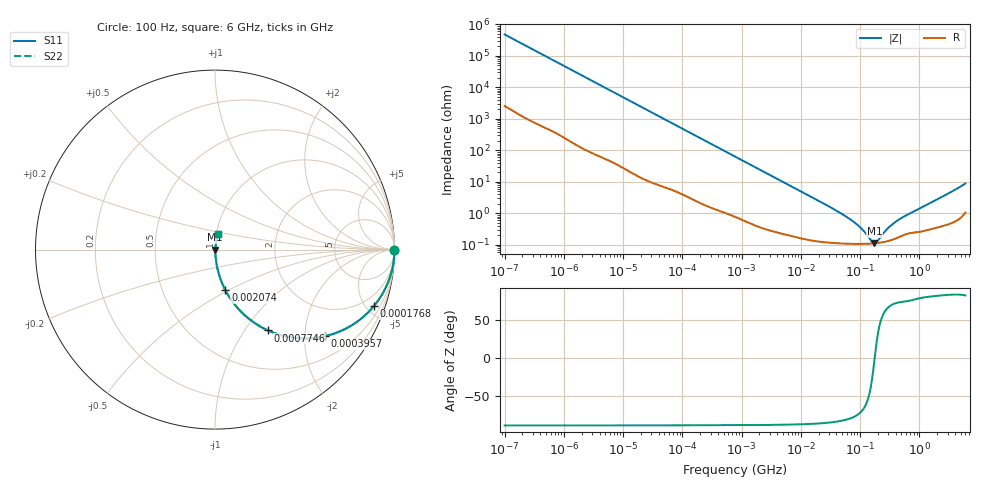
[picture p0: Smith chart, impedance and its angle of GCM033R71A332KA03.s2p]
!Murata Part Number: GCM033R71A332KA03
!These Parameters are Measured in Series Mode Connection
!  o--ll--o
!Port1  Port2
!  o------o
!Operation Temp=25[degC], DC Bias Voltage=0[V]
!Freq. Start=100[Hz] Stop=6[GHz], 401[Steps]
!Data Generated on Nov 6, 2018
# Hz S RI R 50
!Freq.(Hz) S11(Real) S11(Imag) S21(Real) S21(Imag) S12(Real) S12(Imag) S22(Real) S22(Imag)
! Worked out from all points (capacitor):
!   401 points, 100 Hz to 6 GHz, reference 50 ohm
!   read as one part in series: C = 3.3 nF near 109.4 Hz
!   lowest |Z| = 113 mohm at 174.6 MHz (marker M1)
!   series resonance near 176.5 MHz, so ESL is about 250 pH
!   S11 on the Smith chart (normalised r, x): 100 Hz: open; 176.8 kHz: 1.05, -5.60; 395.7 kHz: 1.03, -2.51; 774.6 kHz: 1.02, -1.29; 2.074 MHz: 1.01, -0.48; 6 GHz: 1.02, +0.18
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100  1 -0.000208  1.15e-06 0.000208  1.15e-06 0.000208  1 -0.000208
2008.354  1 -0.00413  3.74e-05 0.00413  3.74e-05 0.00413  1 -0.00413
12592.18  0.9992 -0.0257  0.000806 0.0257  0.000806 0.0257  0.9992 -0.0257
40334.87  0.9928 -0.0815  0.00722 0.0815  0.00722 0.0815  0.9928 -0.0815
98761.63  0.96 -0.1919  0.04 0.1919  0.04 0.1919  0.96 -0.1919
176757.6  0.8847 -0.3152  0.1153 0.3152  0.1153 0.3152  0.8847 -0.3152
264476.2  0.7763 -0.4123  0.2237 0.4123  0.2237 0.4123  0.7763 -0.4123
395726.3  0.6105 -0.4826  0.3895 0.4826  0.3895 0.4826  0.6105 -0.4826
774596.7  0.2955 -0.4502  0.7045 0.4502  0.7045 0.4502  0.2955 -0.4502
1212075  0.149 -0.3496  0.851 0.3496  0.851 0.3496  0.149 -0.3496
2074311  0.0584 -0.2272  0.9416 0.2272  0.9416 0.2272  0.0584 -0.2272
5079039  0.0119 -0.098  0.9881 0.098  0.9881 0.098  0.0119 -0.098
1.555665e7  0.00242 -0.0324  0.9976 0.0324  0.9976 0.0324  0.00242 -0.0324
4.165952e7  0.00127 -0.0116  0.9987 0.0116  0.9987 0.0116  0.00127 -0.0116
7.455971e7  0.00111 -0.00566  0.9989 0.00566  0.9989 0.00566  0.00111 -0.00566
1.020051e8  0.00109 -0.00336  0.9989 0.00336  0.9989 0.00336  0.00109 -0.00336
1.526266e8  0.00111 -0.000849  0.9989 0.000849  0.9989 0.000849  0.00111 -0.000849
1.745687e8  0.00113 -6.23e-05  0.9989 6.23e-05  0.9989 6.23e-05  0.00113 -6.23e-05
1.996653e8  0.00116 0.000722  0.9988 -0.000722  0.9988 -0.000722  0.00116 0.000722
3.124326e8  0.00138 0.00348  0.9986 -0.00348  0.9986 -0.00348  0.00138 0.00348
5.346885e8  0.00208 0.00744  0.9979 -0.00744  0.9979 -0.00744  0.00208 0.00744
6e9  0.018 0.0861  0.982 -0.0861  0.982 -0.0861  0.018 0.0861
